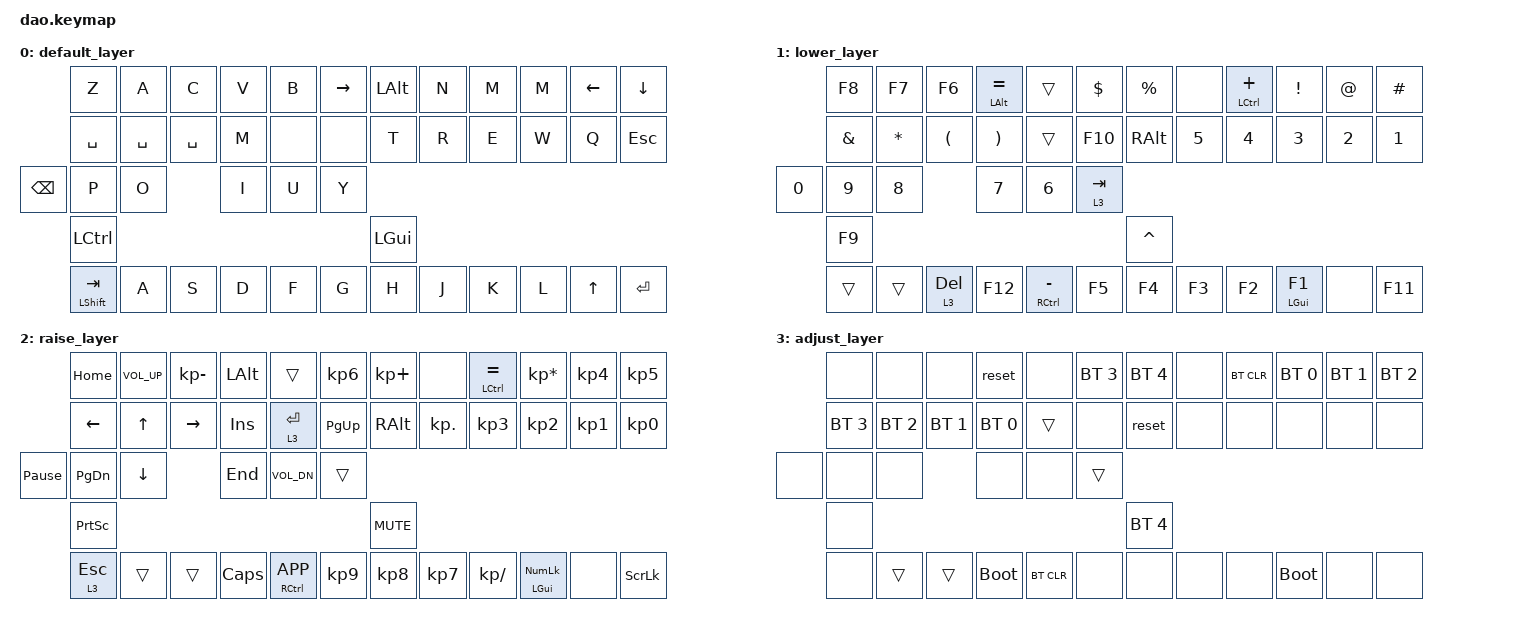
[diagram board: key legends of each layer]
/*
 * Copyright (c) 2021 Rafael Yumagulov
 *
 * SPDX-License-Identifier: MIT
 */

#include <behaviors.dtsi>
#include <dt-bindings/zmk/keys.h>
#include <dt-bindings/zmk/bt.h>

#define DEF 0
#define LWR 1
#define RSE 2
#define ADJ 3

&lt {
    quick_tap_ms = <200>;
};

&mt {
    quick_tap_ms = <200>;
};

/ {
    keymap {
        compatible = "zmk,keymap";

        default_layer {
            bindings = <
             &kp Z      &kp A      &kp C  &kp V  &kp B  &kp RIGHT  &kp LEFT_ALT  &kp N  &kp M  &kp M  &kp LEFT   &kp DOWN
         &kp SPACE  &kp SPACE  &kp SPACE  &kp M  &none      &none         &kp T  &kp R  &kp E  &kp W     &kp Q    &kp ESC
     &kp BACKSPACE      &kp P      &kp O  &kp I  &kp U      &kp Y
         &kp LCTRL                                                 &kp LEFT_GUI
&mt LEFT_SHIFT TAB      &kp A      &kp S  &kp D  &kp F      &kp G         &kp H  &kp J  &kp K  &kp L    &kp UP  &kp ENTER
            >;
        };

        lower_layer {
            bindings = <
  &kp F8    &kp F7     &kp F6  &mt LALT EQUAL           &trans   &kp DLLR  &kp PRCNT   &none  &mt LCTRL PLUS     &kp EXCL  &kp AT  &kp HASH
&kp AMPS  &kp STAR   &kp LPAR        &kp RPAR           &trans    &kp F10   &kp RALT  &kp N5          &kp N4       &kp N3  &kp N2    &kp N1
  &kp N0    &kp N9     &kp N8          &kp N7           &kp N6  &lt 3 TAB
  &kp F9                                                                   &kp CARET
  &trans    &trans  &lt 3 DEL         &kp F12  &mt RCTRL MINUS     &kp F5     &kp F4  &kp F3          &kp F2  &mt LGUI F1   &none   &kp F11
            >;
        };

        raise_layer {
            bindings = <
       &kp HOME  &kp C_VOL_UP  &kp KP_MINUS  &kp LALT           &trans  &kp KP_N6  &kp KP_PLUS       &none  &mt LCTRL EQUAL  &kp KP_MULTIPLY  &kp KP_N4  &kp KP_N5
       &kp LEFT        &kp UP     &kp RIGHT   &kp INS        &lt 3 RET  &kp PG_UP     &kp RALT  &kp KP_DOT        &kp KP_N3        &kp KP_N2  &kp KP_N1  &kp KP_N0
&kp PAUSE_BREAK     &kp PG_DN      &kp DOWN   &kp END     &kp C_VOL_DN     &trans
      &kp PSCRN                                                                     &kp C_MUTE
      &lt 3 ESC        &trans        &trans  &kp CLCK  &mt RCTRL K_APP  &kp KP_N9    &kp KP_N8   &kp KP_N7     &kp KP_SLASH  &mt LGUI KP_NUM      &none   &kp SLCK
            >;
        };

        adjust_layer {
            bindings = <
       &none         &none         &none        &reset       &none  &bt BT_SEL 3  &bt BT_SEL 4  &none  &bt BT_CLR  &bt BT_SEL 0  &bt BT_SEL 1  &bt BT_SEL 2
&bt BT_SEL 3  &bt BT_SEL 2  &bt BT_SEL 1  &bt BT_SEL 0      &trans         &none        &reset  &none       &none         &none         &none         &none
       &none         &none         &none         &none       &none        &trans
       &none                                                                      &bt BT_SEL 4
       &none        &trans        &trans   &bootloader  &bt BT_CLR         &none         &none  &none       &none   &bootloader         &none         &none
            >;
        };
    };
};
